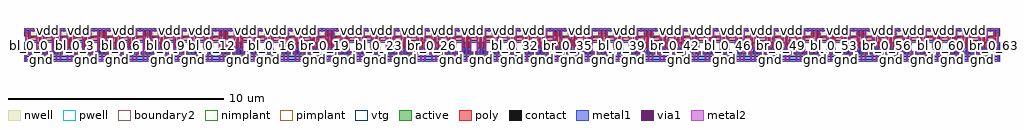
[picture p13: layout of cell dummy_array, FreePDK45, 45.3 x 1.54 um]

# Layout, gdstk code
import gdstk
lib = gdstk.Library(unit=1e-6, precision=5e-10)
def R(c, l, rs):  # rectangles x0, y0, x1, y1
    for r in rs: c.add(gdstk.rectangle(r[:2], r[2:], *l))
def A(c, l, x, y, w, h, nx, ny, dx, dy):  # array of equal rectangles
    R(c, l, [(x+i*dx, y+j*dy, x+i*dx+w, y+j*dy+h) for i in range(nx) for j in range(ny)])
active = (1, 0)
pwell = (2, 0)
nwell = (3, 0)
nimplant = (4, 0)
pimplant = (5, 0)
vtg = (6, 0)
poly = (9, 0)
contact = (10, 0)
metal1 = (11, 0)
via1 = (12, 0)
metal2 = (13, 0)
boundary2 = (239, 0)

dummy_cell_1rw = lib.new_cell('dummy_cell_1rw')
R(dummy_cell_1rw, active, [(0.3025,-0.045,0.3925,0.045), (0.3025,-0.045,0.3925,0.045), (0.045,0.2275,0.305,0.3625), (0.045,0.2275,0.12,0.3625), (0.045,0.2275,0.12,0.3625), (0.23,0.2275,0.305,0.3625), (0.23,0.2275,0.305,0.3625), (0.4,0.2275,0.66,0.3625), (0.4,0.2275,0.475,0.3625), (0.4,0.2275,0.475,0.3625), (0.585,0.2275,0.66,0.3625), (0.585,0.2275,0.66,0.3625), (0.045,0.2875,0.12,0.3625), (0.23,0.2875,0.305,0.3625), (0.4,0.2875,0.475,0.3625), (0.585,0.2875,0.66,0.3625), (-0.0375,0.5475,0.225,0.7525), (-0.0375,0.5475,0.04,0.7525), (-0.0375,0.5475,0.04,0.7525), (0.15,0.5475,0.225,0.7525), (0.15,0.5475,0.225,0.7525), (0.48,0.5475,0.7425,0.7525), (0.48,0.5475,0.555,0.7525), (0.48,0.5475,0.555,0.7525), (0.665,0.5475,0.7425,0.7525), (0.665,0.5475,0.7425,0.7525), (-0.0375,0.6775,0.0375,0.7525), (0.15,0.6775,0.225,0.7525), (0.48,0.6775,0.555,0.7525), (0.6675,0.6775,0.7425,0.7525), (-0.0375,1.1425,0.225,1.2325), (-0.0375,1.1425,0.04,1.2325), (-0.0375,1.1425,0.04,1.2325), (-0.0375,1.1425,0.04,1.2175), (0.15,1.1425,0.225,1.2175), (0.15,1.1425,0.225,1.2325), (0.15,1.1425,0.225,1.2325), (0.48,1.1425,0.555,1.2175), (0.48,1.1425,0.7425,1.2325), (0.48,1.1425,0.555,1.2325), (0.48,1.1425,0.555,1.2325), (0.665,1.1425,0.7425,1.2325), (0.665,1.1425,0.7425,1.2325), (0.6675,1.1425,0.7425,1.2175), (0.3025,1.3,0.3925,1.39), (0.3025,1.3,0.3925,1.39)])
R(dummy_cell_1rw, pwell, [(-0.0925,-0.1,0.7975,0.8075), (0.2475,-0.1,0.4475,0.1), (0.2475,-0.1,0.4475,0.1), (-0.01,0.1725,0.36,0.4175), (0.345,0.1725,0.715,0.4175), (-0.0925,0.4925,0.28,0.8075), (0.425,0.4925,0.7975,0.8075)])
R(dummy_cell_1rw, nwell, [(-0.0925,1.0875,0.28,1.2875), (-0.0925,1.0875,0.7975,1.445), (0.425,1.0875,0.7975,1.2875), (0.2475,1.245,0.4475,1.445), (0.2475,1.245,0.4475,1.445)])
R(dummy_cell_1rw, nimplant, [(0.045,0.2275,0.305,0.3625), (0.4,0.2275,0.66,0.3625), (-0.035,0.5475,0.225,0.7525), (0.48,0.5475,0.74,0.7525), (0.3025,1.3,0.3925,1.39), (0.3025,1.3,0.3925,1.39)])
R(dummy_cell_1rw, pimplant, [(0.3025,-0.045,0.3925,0.045), (-0.035,1.1425,0.225,1.2325), (0.48,1.1425,0.74,1.2325)])
R(dummy_cell_1rw, vtg, [(-0.09,-0.1,0.795,0.8075), (-0.01,0.1725,0.36,0.4175), (0.345,0.1725,0.715,0.4175), (-0.09,0.4925,0.28,0.8075), (0.425,0.4925,0.795,0.8075), (-0.09,1.0875,0.28,1.2875), (-0.09,1.0875,0.795,1.445), (0.425,1.0875,0.795,1.2875)])
R(dummy_cell_1rw, poly, [(0.07,0.1025,0.635,0.1775), (0.2975,0.1025,0.3725,0.1775), (0.15,0.1725,0.2,0.2275), (0.15,0.1725,0.2,0.4175), (0.505,0.1725,0.555,0.2275), (0.505,0.1725,0.555,0.4175), (0.15,0.3625,0.2,0.4175), (0.505,0.3625,0.555,0.4175), (0.07,0.4925,0.12,0.5475), (0.07,0.4925,0.12,0.8075), (0.585,0.4925,0.635,0.5475), (0.585,0.4925,0.635,0.8075), (0.07,0.7525,0.12,0.8075), (0.585,0.7525,0.635,0.8075), (0.07,0.8075,0.12,1.0875), (0.07,0.8075,0.12,1.0875), (0.585,0.8075,0.635,1.0875), (0.585,0.8075,0.635,1.0875), (0.07,0.8425,0.5025,0.9175), (0.4275,0.8425,0.5025,0.9175), (0.4275,0.8425,0.5025,0.9175), (0.2025,0.9925,0.2775,1.0675), (0.2025,0.9925,0.2775,1.0675), (0.2025,0.9925,0.635,1.0675), (0.07,1.0875,0.12,1.1425), (0.07,1.0875,0.12,1.2875), (0.585,1.0875,0.635,1.1425), (0.585,1.0875,0.635,1.2875), (0.07,1.2325,0.12,1.2875), (0.585,1.2325,0.635,1.2875)])
R(dummy_cell_1rw, contact, [(0.3175,-0.0325,0.3825,0.0325), (0.3175,-0.0325,0.3825,0.0325), (0.3025,0.1075,0.3675,0.1725), (0.05,0.2925,0.115,0.3575), (0.235,0.2925,0.3,0.3575), (0.405,0.2925,0.47,0.3575), (0.59,0.2925,0.655,0.3575), (-0.0325,0.6825,0.0325,0.7475), (0.155,0.6825,0.22,0.7475), (0.485,0.6825,0.55,0.7475), (0.6725,0.6825,0.7375,0.7475), (0.4325,0.8475,0.4975,0.9125), (0.4325,0.8475,0.4975,0.9125), (0.2075,0.9975,0.2725,1.0625), (0.2075,0.9975,0.2725,1.0625), (-0.0325,1.1475,0.0325,1.2125), (0.155,1.1475,0.22,1.2125), (0.485,1.1475,0.55,1.2125), (0.6725,1.1475,0.7375,1.2125), (0.315,1.3125,0.38,1.3775)])
R(dummy_cell_1rw, metal1, [(-0.09,-0.0325,0.795,0.0325), (-0.0675,-0.0325,0.0675,0.0325), (-0.0675,-0.0325,0.0675,0.0325), (0.285,-0.0325,0.42,0.0325), (0.285,-0.0325,0.42,0.0325), (0.6375,-0.0325,0.7725,0.0325), (0.6375,-0.0325,0.7725,0.0325), (0.6375,-0.0325,0.7725,0.0325), (0.6375,-0.0325,0.7725,0.0325), (-0.09,0.1075,0.795,0.1725), (-0.09,0.1075,0.795,0.1725), (-0.09,0.1075,0.795,0.1725), (0.2675,0.1075,0.4025,0.1725), (-0.085,0.11,-0.0325,0.1725), (0.62,0.11,0.6725,0.1725), (0.05,0.2575,0.115,0.3925), (0.05,0.2575,0.12,0.5475), (0.2225,0.2575,0.2875,0.3925), (0.235,0.2575,0.3,0.3925), (0.405,0.2575,0.47,0.3925), (0.4175,0.2575,0.4825,0.3925), (0.59,0.2575,0.655,0.3925), (0.59,0.2575,0.66,0.5475), (0.05,0.4825,0.22,0.5475), (0.155,0.4825,0.22,1.2225), (0.485,0.4825,0.66,0.5475), (0.485,0.4825,0.55,1.1125), (-0.035,0.6475,0.035,0.7825), (-0.035,0.6475,0.035,0.7825), (-0.03,0.6475,0.035,0.7825), (0.155,0.6475,0.22,0.7825), (0.485,0.6475,0.55,0.7825), (0.67,0.6475,0.735,0.7825), (0.67,0.6475,0.74,0.7825), (0.67,0.6475,0.74,0.7825), (0.67,0.6475,0.74,0.7825), (0.67,0.6475,0.74,0.7825), (0.67,0.6475,0.74,0.7825), (0.67,0.6475,0.74,0.7825), (-0.0325,0.75,0.0325,0.885), (-0.0325,0.75,0.0325,0.885), (-0.0325,0.75,0.0325,0.885), (-0.0325,0.75,0.0325,0.885), (-0.0325,0.75,0.0325,0.885), (-0.0325,0.75,0.0325,0.885), (0.6725,0.75,0.7375,0.885), (0.6725,0.75,0.7375,0.885), (0.6725,0.75,0.7375,0.885), (0.6725,0.75,0.7375,0.885), (0.6725,0.75,0.7375,0.885), (0.6725,0.75,0.7375,0.885), (0.6725,0.75,0.7375,0.885), (0.6725,0.75,0.7375,0.885), (0.6725,0.75,0.7375,0.885), (0.6725,0.75,0.7375,0.885), (0.6725,0.75,0.7375,0.885), (0.6725,0.75,0.7375,0.885), (0.6725,0.75,0.7375,0.885), (0.6725,0.75,0.7375,0.885), (0.6725,0.75,0.7375,0.885), (0.6725,0.75,0.7375,0.885), (0.6725,0.75,0.7375,0.885), (0.6725,0.75,0.7375,0.885), (0.6725,0.75,0.7375,0.885), (0.6725,0.75,0.7375,0.885), (0.6725,0.75,0.7375,0.885), (0.6725,0.75,0.7375,0.885), (0.6725,0.75,0.7375,0.885), (0.6725,0.75,0.7375,0.885), (0.3975,0.8475,0.5325,0.9125), (0.3975,0.8475,0.5325,0.9125), (0.1725,0.9975,0.3075,1.0625), (0.1725,0.9975,0.3075,1.0625), (-0.035,1.1125,0.035,1.3125), (-0.03,1.1125,0.035,1.2475), (0.155,1.1125,0.22,1.2475), (0.485,1.1125,0.55,1.2475), (0.67,1.1125,0.735,1.2475), (0.67,1.1125,0.74,1.3125), (0.67,1.1125,0.74,1.3125), (-0.09,1.3125,0.795,1.3775)])
R(dummy_cell_1rw, via1, [(-0.0325,-0.0325,0.0325,0.0325), (-0.0325,-0.0325,0.0325,0.0325), (0.6725,-0.0325,0.7375,0.0325), (0.6725,-0.0325,0.7375,0.0325), (0.6725,-0.0325,0.7375,0.0325), (0.6725,-0.0325,0.7375,0.0325), (-0.0325,0.785,0.0325,0.85), (-0.0325,0.785,0.0325,0.85), (-0.0325,0.785,0.0325,0.85), (-0.0325,0.785,0.0325,0.85), (-0.0325,0.785,0.0325,0.85), (-0.0325,0.785,0.0325,0.85), (0.6725,0.785,0.7375,0.85), (0.6725,0.785,0.7375,0.85), (0.6725,0.785,0.7375,0.85), (0.6725,0.785,0.7375,0.85), (0.6725,0.785,0.7375,0.85), (0.6725,0.785,0.7375,0.85), (0.6725,0.785,0.7375,0.85), (0.6725,0.785,0.7375,0.85), (0.6725,0.785,0.7375,0.85), (0.6725,0.785,0.7375,0.85), (0.6725,0.785,0.7375,0.85), (0.6725,0.785,0.7375,0.85), (0.6725,0.785,0.7375,0.85), (0.6725,0.785,0.7375,0.85), (0.6725,0.785,0.7375,0.85), (0.6725,0.785,0.7375,0.85), (0.6725,0.785,0.7375,0.85), (0.6725,0.785,0.7375,0.85), (0.6725,0.785,0.7375,0.85), (0.6725,0.785,0.7375,0.85), (0.6725,0.785,0.7375,0.85), (0.6725,0.785,0.7375,0.85), (0.6725,0.785,0.7375,0.85), (0.6725,0.785,0.7375,0.85), (0.315,1.3125,0.38,1.3775)])
R(dummy_cell_1rw, metal2, [(-0.035,-0.1,0.035,1.445), (0.15,-0.1,0.22,1.445), (0.15,-0.1,0.22,1.445), (0.15,-0.1,0.22,1.445), (0.485,-0.1,0.555,1.445), (0.485,-0.1,0.555,1.445), (0.485,-0.1,0.555,1.445), (0.67,-0.1,0.74,1.445), (-0.0675,-0.035,0.0675,0.035), (-0.0675,-0.035,0.0675,0.035), (-0.0675,-0.035,0.0675,0.035), (-0.0675,-0.035,0.0675,0.035), (0.6375,-0.035,0.7725,0.035), (0.6375,-0.035,0.7725,0.035), (0.6375,-0.035,0.7725,0.035), (0.6375,-0.035,0.7725,0.035), (0.4925,-0.0325,0.55,0.0275), (0.67,-0.0325,0.74,1.3775), (-0.03,-0.03,0.03,0.0275), (0.1575,-0.025,0.2125,0.0275), (0.675,-0.025,0.735,0.0325), (0.22,0.2575,0.29,0.3925), (0.415,0.2575,0.485,0.3925), (-0.035,0.75,0.035,0.885), (-0.035,0.75,0.035,0.885), (-0.035,0.75,0.035,0.885), (-0.035,0.75,0.035,0.885), (-0.035,0.75,0.035,0.885), (-0.035,0.75,0.035,0.885), (0.67,0.75,0.74,0.885), (0.67,0.75,0.74,0.885), (0.67,0.75,0.74,0.885), (0.67,0.75,0.74,0.885), (0.67,0.75,0.74,0.885), (0.67,0.75,0.74,0.885), (0.67,0.75,0.74,0.885), (0.67,0.75,0.74,0.885), (0.67,0.75,0.74,0.885), (0.67,0.75,0.74,0.885), (0.67,0.75,0.74,0.885), (0.67,0.75,0.74,0.885), (0.67,0.75,0.74,0.885), (0.67,0.75,0.74,0.885), (0.67,0.75,0.74,0.885), (0.67,0.75,0.74,0.885), (0.67,0.75,0.74,0.885), (0.67,0.75,0.74,0.885), (0.67,0.75,0.74,0.885), (0.67,0.75,0.74,0.885), (0.67,0.75,0.74,0.885), (0.67,0.75,0.74,0.885), (0.67,0.75,0.74,0.885), (0.67,0.75,0.74,0.885), (0.3125,1.2775,0.3825,1.4125), (0.3125,1.2775,0.3825,1.4125), (0.3125,1.2775,0.3825,1.4125)])
R(dummy_cell_1rw, boundary2, [(0,0,0.705,1.345)])
dummy_cell_1rw.add(gdstk.Label('vdd', (0.368,1.355), layer=13, texttype=0))
dummy_cell_1rw.add(gdstk.Label('gnd', (-0.0475,0.015), layer=13, texttype=0))
dummy_cell_1rw.add(gdstk.Label('br', (0.52,0.003), layer=13, texttype=0))
dummy_cell_1rw.add(gdstk.Label('bl', (0.19,0.003), layer=13, texttype=0))
dummy_cell_1rw.add(gdstk.Label('bl', (0.185,0.6725), layer=13, texttype=0))
dummy_cell_1rw.add(gdstk.Label('br', (0.52,0.6725), layer=13, texttype=0))
dummy_cell_1rw.add(gdstk.Label('vdd', (0.3475,1.345), layer=13, texttype=0))
dummy_cell_1rw.add(gdstk.Label('gnd', (0,0), layer=13, texttype=0))
dummy_cell_1rw.add(gdstk.Label('wl', (-0.05,0.147), layer=11, texttype=0))
dummy_cell_1rw.add(gdstk.Label('wl', (0.3525,0.14), layer=11, texttype=0))

dummy_array = lib.new_cell('dummy_array')
R(dummy_array, metal1, [(0,0.1075,45.12,0.1725)])
A(dummy_array, metal2, -0.0675, -0.035, 0.135, 0.07, 64, 1, 0.705, 0)
A(dummy_array, metal2, 0.3125, 1.2775, 0.07, 0.135, 64, 1, 0.705, 0)
R(dummy_array, metal2, [(0.15,0,0.22,1.345), (0.485,0,0.555,1.345), (0.855,0,0.925,1.345), (1.19,0,1.26,1.345), (1.56,0,1.63,1.345), (1.895,0,1.965,1.345), (2.265,0,2.335,1.345), (2.6,0,2.67,1.345), (2.97,0,3.04,1.345), (3.305,0,3.375,1.345), (3.675,0,3.745,1.345), (4.01,0,4.08,1.345), (4.38,0,4.45,1.345), (4.715,0,4.785,1.345), (5.085,0,5.155,1.345), (5.42,0,5.49,1.345), (5.79,0,5.86,1.345), (6.125,0,6.195,1.345), (6.495,0,6.565,1.345), (6.83,0,6.9,1.345), (7.2,0,7.27,1.345), (7.535,0,7.605,1.345), (7.905,0,7.975,1.345), (8.24,0,8.31,1.345), (8.61,0,8.68,1.345), (8.945,0,9.015,1.345), (9.315,0,9.385,1.345), (9.65,0,9.72,1.345), (10.02,0,10.09,1.345), (10.355,0,10.425,1.345), (10.725,0,10.795,1.345), (11.06,0,11.13,1.345), (11.43,0,11.5,1.345), (11.765,0,11.835,1.345), (12.135,0,12.205,1.345), (12.47,0,12.54,1.345), (12.84,0,12.91,1.345), (13.175,0,13.245,1.345), (13.545,0,13.615,1.345), (13.88,0,13.95,1.345), (14.25,0,14.32,1.345), (14.585,0,14.655,1.345), (14.955,0,15.025,1.345), (15.29,0,15.36,1.345), (15.66,0,15.73,1.345), (15.995,0,16.065,1.345), (16.365,0,16.435,1.345), (16.7,0,16.77,1.345), (17.07,0,17.14,1.345), (17.405,0,17.475,1.345), (17.775,0,17.845,1.345), (18.11,0,18.18,1.345), (18.48,0,18.55,1.345), (18.815,0,18.885,1.345), (19.185,0,19.255,1.345), (19.52,0,19.59,1.345), (19.89,0,19.96,1.345), (20.225,0,20.295,1.345), (20.595,0,20.665,1.345), (20.93,0,21,1.345), (21.3,0,21.37,1.345), (21.635,0,21.705,1.345), (22.005,0,22.075,1.345), (22.34,0,22.41,1.345), (22.71,0,22.78,1.345), (23.045,0,23.115,1.345), (23.415,0,23.485,1.345), (23.75,0,23.82,1.345), (24.12,0,24.19,1.345), (24.455,0,24.525,1.345), (24.825,0,24.895,1.345), (25.16,0,25.23,1.345), (25.53,0,25.6,1.345), (25.865,0,25.935,1.345), (26.235,0,26.305,1.345), (26.57,0,26.64,1.345), (26.94,0,27.01,1.345), (27.275,0,27.345,1.345), (27.645,0,27.715,1.345), (27.98,0,28.05,1.345), (28.35,0,28.42,1.345), (28.685,0,28.755,1.345), (29.055,0,29.125,1.345), (29.39,0,29.46,1.345), (29.76,0,29.83,1.345), (30.095,0,30.165,1.345), (30.465,0,30.535,1.345), (30.8,0,30.87,1.345), (31.17,0,31.24,1.345), (31.505,0,31.575,1.345), (31.875,0,31.945,1.345), (32.21,0,32.28,1.345), (32.58,0,32.65,1.345), (32.915,0,32.985,1.345), (33.285,0,33.355,1.345), (33.62,0,33.69,1.345), (33.99,0,34.06,1.345), (34.325,0,34.395,1.345), (34.695,0,34.765,1.345), (35.03,0,35.1,1.345), (35.4,0,35.47,1.345), (35.735,0,35.805,1.345), (36.105,0,36.175,1.345), (36.44,0,36.51,1.345), (36.81,0,36.88,1.345), (37.145,0,37.215,1.345), (37.515,0,37.585,1.345), (37.85,0,37.92,1.345), (38.22,0,38.29,1.345), (38.555,0,38.625,1.345), (38.925,0,38.995,1.345), (39.26,0,39.33,1.345), (39.63,0,39.7,1.345), (39.965,0,40.035,1.345), (40.335,0,40.405,1.345), (40.67,0,40.74,1.345), (41.04,0,41.11,1.345), (41.375,0,41.445,1.345), (41.745,0,41.815,1.345), (42.08,0,42.15,1.345), (42.45,0,42.52,1.345), (42.785,0,42.855,1.345), (43.155,0,43.225,1.345), (43.49,0,43.56,1.345), (43.86,0,43.93,1.345), (44.195,0,44.265,1.345), (44.565,0,44.635,1.345), (44.9,0,44.97,1.345)])
R(dummy_array, boundary2, [(0,0,45.12,1.345)])
dummy_array.add(gdstk.Reference(dummy_cell_1rw, (0,0)))
dummy_array.add(gdstk.Reference(dummy_cell_1rw, (0.705,0)))
dummy_array.add(gdstk.Reference(dummy_cell_1rw, (1.41,0)))
dummy_array.add(gdstk.Reference(dummy_cell_1rw, (2.115,0)))
dummy_array.add(gdstk.Reference(dummy_cell_1rw, (2.82,0)))
dummy_array.add(gdstk.Reference(dummy_cell_1rw, (3.525,0)))
dummy_array.add(gdstk.Reference(dummy_cell_1rw, (4.23,0)))
dummy_array.add(gdstk.Reference(dummy_cell_1rw, (4.935,0)))
dummy_array.add(gdstk.Reference(dummy_cell_1rw, (5.64,0)))
dummy_array.add(gdstk.Reference(dummy_cell_1rw, (6.345,0)))
dummy_array.add(gdstk.Reference(dummy_cell_1rw, (7.05,0)))
dummy_array.add(gdstk.Reference(dummy_cell_1rw, (7.755,0)))
dummy_array.add(gdstk.Reference(dummy_cell_1rw, (8.46,0)))
dummy_array.add(gdstk.Reference(dummy_cell_1rw, (9.165,0)))
dummy_array.add(gdstk.Reference(dummy_cell_1rw, (9.87,0)))
dummy_array.add(gdstk.Reference(dummy_cell_1rw, (10.575,0)))
dummy_array.add(gdstk.Reference(dummy_cell_1rw, (11.28,0)))
dummy_array.add(gdstk.Reference(dummy_cell_1rw, (11.985,0)))
dummy_array.add(gdstk.Reference(dummy_cell_1rw, (12.69,0)))
dummy_array.add(gdstk.Reference(dummy_cell_1rw, (13.395,0)))
dummy_array.add(gdstk.Reference(dummy_cell_1rw, (14.1,0)))
dummy_array.add(gdstk.Reference(dummy_cell_1rw, (14.805,0)))
dummy_array.add(gdstk.Reference(dummy_cell_1rw, (15.51,0)))
dummy_array.add(gdstk.Reference(dummy_cell_1rw, (16.215,0)))
dummy_array.add(gdstk.Reference(dummy_cell_1rw, (16.92,0)))
dummy_array.add(gdstk.Reference(dummy_cell_1rw, (17.625,0)))
dummy_array.add(gdstk.Reference(dummy_cell_1rw, (18.33,0)))
dummy_array.add(gdstk.Reference(dummy_cell_1rw, (19.035,0)))
dummy_array.add(gdstk.Reference(dummy_cell_1rw, (19.74,0)))
dummy_array.add(gdstk.Reference(dummy_cell_1rw, (20.445,0)))
dummy_array.add(gdstk.Reference(dummy_cell_1rw, (21.15,0)))
dummy_array.add(gdstk.Reference(dummy_cell_1rw, (21.855,0)))
dummy_array.add(gdstk.Reference(dummy_cell_1rw, (22.56,0)))
dummy_array.add(gdstk.Reference(dummy_cell_1rw, (23.265,0)))
dummy_array.add(gdstk.Reference(dummy_cell_1rw, (23.97,0)))
dummy_array.add(gdstk.Reference(dummy_cell_1rw, (24.675,0)))
dummy_array.add(gdstk.Reference(dummy_cell_1rw, (25.38,0)))
dummy_array.add(gdstk.Reference(dummy_cell_1rw, (26.085,0)))
dummy_array.add(gdstk.Reference(dummy_cell_1rw, (26.79,0)))
dummy_array.add(gdstk.Reference(dummy_cell_1rw, (27.495,0)))
dummy_array.add(gdstk.Reference(dummy_cell_1rw, (28.2,0)))
dummy_array.add(gdstk.Reference(dummy_cell_1rw, (28.905,0)))
dummy_array.add(gdstk.Reference(dummy_cell_1rw, (29.61,0)))
dummy_array.add(gdstk.Reference(dummy_cell_1rw, (30.315,0)))
dummy_array.add(gdstk.Reference(dummy_cell_1rw, (31.02,0)))
dummy_array.add(gdstk.Reference(dummy_cell_1rw, (31.725,0)))
dummy_array.add(gdstk.Reference(dummy_cell_1rw, (32.43,0)))
dummy_array.add(gdstk.Reference(dummy_cell_1rw, (33.135,0)))
dummy_array.add(gdstk.Reference(dummy_cell_1rw, (33.84,0)))
dummy_array.add(gdstk.Reference(dummy_cell_1rw, (34.545,0)))
dummy_array.add(gdstk.Reference(dummy_cell_1rw, (35.25,0)))
dummy_array.add(gdstk.Reference(dummy_cell_1rw, (35.955,0)))
dummy_array.add(gdstk.Reference(dummy_cell_1rw, (36.66,0)))
dummy_array.add(gdstk.Reference(dummy_cell_1rw, (37.365,0)))
dummy_array.add(gdstk.Reference(dummy_cell_1rw, (38.07,0)))
dummy_array.add(gdstk.Reference(dummy_cell_1rw, (38.775,0)))
dummy_array.add(gdstk.Reference(dummy_cell_1rw, (39.48,0)))
dummy_array.add(gdstk.Reference(dummy_cell_1rw, (40.185,0)))
dummy_array.add(gdstk.Reference(dummy_cell_1rw, (40.89,0)))
dummy_array.add(gdstk.Reference(dummy_cell_1rw, (41.595,0)))
dummy_array.add(gdstk.Reference(dummy_cell_1rw, (42.3,0)))
dummy_array.add(gdstk.Reference(dummy_cell_1rw, (43.005,0)))
dummy_array.add(gdstk.Reference(dummy_cell_1rw, (43.71,0)))
dummy_array.add(gdstk.Reference(dummy_cell_1rw, (44.415,0)))
dummy_array.add(gdstk.Label('bl_0_32', (22.745,0.6725), layer=13, texttype=0))
dummy_array.add(gdstk.Label('br_0_32', (23.08,0.6725), layer=13, texttype=0))
dummy_array.add(gdstk.Label('bl_0_33', (23.45,0.6725), layer=13, texttype=0))
dummy_array.add(gdstk.Label('br_0_33', (23.785,0.6725), layer=13, texttype=0))
dummy_array.add(gdstk.Label('bl_0_34', (24.155,0.6725), layer=13, texttype=0))
dummy_array.add(gdstk.Label('br_0_34', (24.49,0.6725), layer=13, texttype=0))
dummy_array.add(gdstk.Label('bl_0_35', (24.86,0.6725), layer=13, texttype=0))
dummy_array.add(gdstk.Label('br_0_35', (25.195,0.6725), layer=13, texttype=0))
dummy_array.add(gdstk.Label('bl_0_36', (25.565,0.6725), layer=13, texttype=0))
dummy_array.add(gdstk.Label('br_0_36', (25.9,0.6725), layer=13, texttype=0))
dummy_array.add(gdstk.Label('bl_0_37', (26.27,0.6725), layer=13, texttype=0))
dummy_array.add(gdstk.Label('br_0_37', (26.605,0.6725), layer=13, texttype=0))
dummy_array.add(gdstk.Label('bl_0_38', (26.975,0.6725), layer=13, texttype=0))
dummy_array.add(gdstk.Label('br_0_38', (27.31,0.6725), layer=13, texttype=0))
dummy_array.add(gdstk.Label('bl_0_39', (27.68,0.6725), layer=13, texttype=0))
dummy_array.add(gdstk.Label('br_0_39', (28.015,0.6725), layer=13, texttype=0))
dummy_array.add(gdstk.Label('bl_0_40', (28.385,0.6725), layer=13, texttype=0))
dummy_array.add(gdstk.Label('br_0_40', (28.72,0.6725), layer=13, texttype=0))
dummy_array.add(gdstk.Label('bl_0_41', (29.09,0.6725), layer=13, texttype=0))
dummy_array.add(gdstk.Label('br_0_41', (29.425,0.6725), layer=13, texttype=0))
dummy_array.add(gdstk.Label('bl_0_42', (29.795,0.6725), layer=13, texttype=0))
dummy_array.add(gdstk.Label('br_0_42', (30.13,0.6725), layer=13, texttype=0))
dummy_array.add(gdstk.Label('bl_0_43', (30.5,0.6725), layer=13, texttype=0))
dummy_array.add(gdstk.Label('br_0_43', (30.835,0.6725), layer=13, texttype=0))
dummy_array.add(gdstk.Label('bl_0_44', (31.205,0.6725), layer=13, texttype=0))
dummy_array.add(gdstk.Label('br_0_44', (31.54,0.6725), layer=13, texttype=0))
dummy_array.add(gdstk.Label('bl_0_45', (31.91,0.6725), layer=13, texttype=0))
dummy_array.add(gdstk.Label('br_0_45', (32.245,0.6725), layer=13, texttype=0))
dummy_array.add(gdstk.Label('bl_0_46', (32.615,0.6725), layer=13, texttype=0))
dummy_array.add(gdstk.Label('br_0_46', (32.95,0.6725), layer=13, texttype=0))
dummy_array.add(gdstk.Label('bl_0_47', (33.32,0.6725), layer=13, texttype=0))
dummy_array.add(gdstk.Label('br_0_47', (33.655,0.6725), layer=13, texttype=0))
dummy_array.add(gdstk.Label('bl_0_48', (34.025,0.6725), layer=13, texttype=0))
dummy_array.add(gdstk.Label('br_0_48', (34.36,0.6725), layer=13, texttype=0))
dummy_array.add(gdstk.Label('bl_0_49', (34.73,0.6725), layer=13, texttype=0))
dummy_array.add(gdstk.Label('br_0_49', (35.065,0.6725), layer=13, texttype=0))
dummy_array.add(gdstk.Label('bl_0_50', (35.435,0.6725), layer=13, texttype=0))
dummy_array.add(gdstk.Label('br_0_50', (35.77,0.6725), layer=13, texttype=0))
dummy_array.add(gdstk.Label('bl_0_51', (36.14,0.6725), layer=13, texttype=0))
dummy_array.add(gdstk.Label('br_0_51', (36.475,0.6725), layer=13, texttype=0))
dummy_array.add(gdstk.Label('bl_0_52', (36.845,0.6725), layer=13, texttype=0))
dummy_array.add(gdstk.Label('br_0_52', (37.18,0.6725), layer=13, texttype=0))
dummy_array.add(gdstk.Label('bl_0_53', (37.55,0.6725), layer=13, texttype=0))
dummy_array.add(gdstk.Label('br_0_53', (37.885,0.6725), layer=13, texttype=0))
dummy_array.add(gdstk.Label('bl_0_54', (38.255,0.6725), layer=13, texttype=0))
dummy_array.add(gdstk.Label('br_0_54', (38.59,0.6725), layer=13, texttype=0))
dummy_array.add(gdstk.Label('bl_0_55', (38.96,0.6725), layer=13, texttype=0))
dummy_array.add(gdstk.Label('br_0_55', (39.295,0.6725), layer=13, texttype=0))
dummy_array.add(gdstk.Label('bl_0_56', (39.665,0.6725), layer=13, texttype=0))
dummy_array.add(gdstk.Label('br_0_56', (40,0.6725), layer=13, texttype=0))
dummy_array.add(gdstk.Label('bl_0_57', (40.37,0.6725), layer=13, texttype=0))
dummy_array.add(gdstk.Label('br_0_57', (40.705,0.6725), layer=13, texttype=0))
dummy_array.add(gdstk.Label('bl_0_58', (41.075,0.6725), layer=13, texttype=0))
dummy_array.add(gdstk.Label('br_0_58', (41.41,0.6725), layer=13, texttype=0))
dummy_array.add(gdstk.Label('bl_0_59', (41.78,0.6725), layer=13, texttype=0))
dummy_array.add(gdstk.Label('br_0_59', (42.115,0.6725), layer=13, texttype=0))
dummy_array.add(gdstk.Label('bl_0_60', (42.485,0.6725), layer=13, texttype=0))
dummy_array.add(gdstk.Label('br_0_60', (42.82,0.6725), layer=13, texttype=0))
dummy_array.add(gdstk.Label('bl_0_61', (43.19,0.6725), layer=13, texttype=0))
dummy_array.add(gdstk.Label('br_0_61', (43.525,0.6725), layer=13, texttype=0))
dummy_array.add(gdstk.Label('bl_0_62', (43.895,0.6725), layer=13, texttype=0))
dummy_array.add(gdstk.Label('br_0_62', (44.23,0.6725), layer=13, texttype=0))
dummy_array.add(gdstk.Label('bl_0_63', (44.6,0.6725), layer=13, texttype=0))
dummy_array.add(gdstk.Label('br_0_63', (44.935,0.6725), layer=13, texttype=0))
dummy_array.add(gdstk.Label('vdd', (34.1875,1.345), layer=13, texttype=0))
dummy_array.add(gdstk.Label('vdd', (27.8425,1.345), layer=13, texttype=0))
dummy_array.add(gdstk.Label('vdd', (37.7125,1.345), layer=13, texttype=0))
dummy_array.add(gdstk.Label('vdd', (39.8275,1.345), layer=13, texttype=0))
dummy_array.add(gdstk.Label('vdd', (44.0575,1.345), layer=13, texttype=0))
dummy_array.add(gdstk.Label('vdd', (39.1225,1.345), layer=13, texttype=0))
dummy_array.add(gdstk.Label('vdd', (35.5975,1.345), layer=13, texttype=0))
dummy_array.add(gdstk.Label('vdd', (43.3525,1.345), layer=13, texttype=0))
dummy_array.add(gdstk.Label('vdd', (25.7275,1.345), layer=13, texttype=0))
dummy_array.add(gdstk.Label('vdd', (41.2375,1.345), layer=13, texttype=0))
dummy_array.add(gdstk.Label('vdd', (40.5325,1.345), layer=13, texttype=0))
dummy_array.add(gdstk.Label('vdd', (34.8925,1.345), layer=13, texttype=0))
dummy_array.add(gdstk.Label('vdd', (27.1375,1.345), layer=13, texttype=0))
dummy_array.add(gdstk.Label('vdd', (23.6125,1.345), layer=13, texttype=0))
dummy_array.add(gdstk.Label('vdd', (28.5475,1.345), layer=13, texttype=0))
dummy_array.add(gdstk.Label('vdd', (36.3025,1.345), layer=13, texttype=0))
dummy_array.add(gdstk.Label('vdd', (42.6475,1.345), layer=13, texttype=0))
dummy_array.add(gdstk.Label('vdd', (31.3675,1.345), layer=13, texttype=0))
dummy_array.add(gdstk.Label('vdd', (26.4325,1.345), layer=13, texttype=0))
dummy_array.add(gdstk.Label('vdd', (32.7775,1.345), layer=13, texttype=0))
dummy_array.add(gdstk.Label('vdd', (25.0225,1.345), layer=13, texttype=0))
dummy_array.add(gdstk.Label('vdd', (41.9425,1.345), layer=13, texttype=0))
dummy_array.add(gdstk.Label('vdd', (37.0075,1.345), layer=13, texttype=0))
dummy_array.add(gdstk.Label('vdd', (24.3175,1.345), layer=13, texttype=0))
dummy_array.add(gdstk.Label('vdd', (38.4175,1.345), layer=13, texttype=0))
dummy_array.add(gdstk.Label('vdd', (22.9075,1.345), layer=13, texttype=0))
dummy_array.add(gdstk.Label('vdd', (29.9575,1.345), layer=13, texttype=0))
dummy_array.add(gdstk.Label('vdd', (33.4825,1.345), layer=13, texttype=0))
dummy_array.add(gdstk.Label('vdd', (30.6625,1.345), layer=13, texttype=0))
dummy_array.add(gdstk.Label('vdd', (32.0725,1.345), layer=13, texttype=0))
dummy_array.add(gdstk.Label('vdd', (44.7625,1.345), layer=13, texttype=0))
dummy_array.add(gdstk.Label('vdd', (29.2525,1.345), layer=13, texttype=0))
dummy_array.add(gdstk.Label('bl_0_16', (11.465,0.6725), layer=13, texttype=0))
dummy_array.add(gdstk.Label('br_0_16', (11.8,0.6725), layer=13, texttype=0))
dummy_array.add(gdstk.Label('bl_0_17', (12.17,0.6725), layer=13, texttype=0))
dummy_array.add(gdstk.Label('br_0_17', (12.505,0.6725), layer=13, texttype=0))
dummy_array.add(gdstk.Label('bl_0_18', (12.875,0.6725), layer=13, texttype=0))
dummy_array.add(gdstk.Label('br_0_18', (13.21,0.6725), layer=13, texttype=0))
dummy_array.add(gdstk.Label('bl_0_19', (13.58,0.6725), layer=13, texttype=0))
dummy_array.add(gdstk.Label('br_0_19', (13.915,0.6725), layer=13, texttype=0))
dummy_array.add(gdstk.Label('bl_0_20', (14.285,0.6725), layer=13, texttype=0))
dummy_array.add(gdstk.Label('br_0_20', (14.62,0.6725), layer=13, texttype=0))
dummy_array.add(gdstk.Label('bl_0_21', (14.99,0.6725), layer=13, texttype=0))
dummy_array.add(gdstk.Label('br_0_21', (15.325,0.6725), layer=13, texttype=0))
dummy_array.add(gdstk.Label('bl_0_22', (15.695,0.6725), layer=13, texttype=0))
dummy_array.add(gdstk.Label('br_0_22', (16.03,0.6725), layer=13, texttype=0))
dummy_array.add(gdstk.Label('bl_0_23', (16.4,0.6725), layer=13, texttype=0))
dummy_array.add(gdstk.Label('br_0_23', (16.735,0.6725), layer=13, texttype=0))
dummy_array.add(gdstk.Label('bl_0_24', (17.105,0.6725), layer=13, texttype=0))
dummy_array.add(gdstk.Label('br_0_24', (17.44,0.6725), layer=13, texttype=0))
dummy_array.add(gdstk.Label('bl_0_25', (17.81,0.6725), layer=13, texttype=0))
dummy_array.add(gdstk.Label('br_0_25', (18.145,0.6725), layer=13, texttype=0))
dummy_array.add(gdstk.Label('bl_0_26', (18.515,0.6725), layer=13, texttype=0))
dummy_array.add(gdstk.Label('br_0_26', (18.85,0.6725), layer=13, texttype=0))
dummy_array.add(gdstk.Label('bl_0_27', (19.22,0.6725), layer=13, texttype=0))
dummy_array.add(gdstk.Label('br_0_27', (19.555,0.6725), layer=13, texttype=0))
dummy_array.add(gdstk.Label('bl_0_28', (19.925,0.6725), layer=13, texttype=0))
dummy_array.add(gdstk.Label('br_0_28', (20.26,0.6725), layer=13, texttype=0))
dummy_array.add(gdstk.Label('bl_0_29', (20.63,0.6725), layer=13, texttype=0))
dummy_array.add(gdstk.Label('br_0_29', (20.965,0.6725), layer=13, texttype=0))
dummy_array.add(gdstk.Label('bl_0_30', (21.335,0.6725), layer=13, texttype=0))
dummy_array.add(gdstk.Label('br_0_30', (21.67,0.6725), layer=13, texttype=0))
dummy_array.add(gdstk.Label('bl_0_31', (22.04,0.6725), layer=13, texttype=0))
dummy_array.add(gdstk.Label('br_0_31', (22.375,0.6725), layer=13, texttype=0))
dummy_array.add(gdstk.Label('bl_0_0', (0.185,0.6725), layer=13, texttype=0))
dummy_array.add(gdstk.Label('br_0_0', (0.52,0.6725), layer=13, texttype=0))
dummy_array.add(gdstk.Label('bl_0_1', (0.89,0.6725), layer=13, texttype=0))
dummy_array.add(gdstk.Label('vdd', (19.3825,1.345), layer=13, texttype=0))
dummy_array.add(gdstk.Label('br_0_1', (1.225,0.6725), layer=13, texttype=0))
dummy_array.add(gdstk.Label('bl_0_2', (1.595,0.6725), layer=13, texttype=0))
dummy_array.add(gdstk.Label('vdd', (20.0875,1.345), layer=13, texttype=0))
dummy_array.add(gdstk.Label('vdd', (15.1525,1.345), layer=13, texttype=0))
dummy_array.add(gdstk.Label('br_0_2', (1.93,0.6725), layer=13, texttype=0))
dummy_array.add(gdstk.Label('vdd', (17.9725,1.345), layer=13, texttype=0))
dummy_array.add(gdstk.Label('vdd', (20.7925,1.345), layer=13, texttype=0))
dummy_array.add(gdstk.Label('bl_0_3', (2.3,0.6725), layer=13, texttype=0))
dummy_array.add(gdstk.Label('br_0_3', (2.635,0.6725), layer=13, texttype=0))
dummy_array.add(gdstk.Label('vdd', (2.4625,1.345), layer=13, texttype=0))
dummy_array.add(gdstk.Label('bl_0_4', (3.005,0.6725), layer=13, texttype=0))
dummy_array.add(gdstk.Label('vdd', (10.2175,1.345), layer=13, texttype=0))
dummy_array.add(gdstk.Label('br_0_4', (3.34,0.6725), layer=13, texttype=0))
dummy_array.add(gdstk.Label('vdd', (1.0525,1.345), layer=13, texttype=0))
dummy_array.add(gdstk.Label('vdd', (17.2675,1.345), layer=13, texttype=0))
dummy_array.add(gdstk.Label('vdd', (13.0375,1.345), layer=13, texttype=0))
dummy_array.add(gdstk.Label('vdd', (8.1025,1.345), layer=13, texttype=0))
dummy_array.add(gdstk.Label('bl_0_5', (3.71,0.6725), layer=13, texttype=0))
dummy_array.add(gdstk.Label('vdd', (8.8075,1.345), layer=13, texttype=0))
dummy_array.add(gdstk.Label('br_0_5', (4.045,0.6725), layer=13, texttype=0))
dummy_array.add(gdstk.Label('vdd', (13.7425,1.345), layer=13, texttype=0))
dummy_array.add(gdstk.Label('bl_0_6', (4.415,0.6725), layer=13, texttype=0))
dummy_array.add(gdstk.Label('br_0_6', (4.75,0.6725), layer=13, texttype=0))
dummy_array.add(gdstk.Label('bl_0_7', (5.12,0.6725), layer=13, texttype=0))
dummy_array.add(gdstk.Label('vdd', (6.6925,1.345), layer=13, texttype=0))
dummy_array.add(gdstk.Label('br_0_7', (5.455,0.6725), layer=13, texttype=0))
dummy_array.add(gdstk.Label('bl_0_8', (5.825,0.6725), layer=13, texttype=0))
dummy_array.add(gdstk.Label('vdd', (1.7575,1.345), layer=13, texttype=0))
dummy_array.add(gdstk.Label('vdd', (9.5125,1.345), layer=13, texttype=0))
dummy_array.add(gdstk.Label('vdd', (10.9225,1.345), layer=13, texttype=0))
dummy_array.add(gdstk.Label('br_0_8', (6.16,0.6725), layer=13, texttype=0))
dummy_array.add(gdstk.Label('vdd', (11.6275,1.345), layer=13, texttype=0))
dummy_array.add(gdstk.Label('bl_0_9', (6.53,0.6725), layer=13, texttype=0))
dummy_array.add(gdstk.Label('br_0_9', (6.865,0.6725), layer=13, texttype=0))
dummy_array.add(gdstk.Label('vdd', (5.9875,1.345), layer=13, texttype=0))
dummy_array.add(gdstk.Label('bl_0_10', (7.235,0.6725), layer=13, texttype=0))
dummy_array.add(gdstk.Label('vdd', (4.5775,1.345), layer=13, texttype=0))
dummy_array.add(gdstk.Label('vdd', (7.3975,1.345), layer=13, texttype=0))
dummy_array.add(gdstk.Label('br_0_10', (7.57,0.6725), layer=13, texttype=0))
dummy_array.add(gdstk.Label('vdd', (15.8575,1.345), layer=13, texttype=0))
dummy_array.add(gdstk.Label('vdd', (12.3325,1.345), layer=13, texttype=0))
dummy_array.add(gdstk.Label('vdd', (14.4475,1.345), layer=13, texttype=0))
dummy_array.add(gdstk.Label('bl_0_11', (7.94,0.6725), layer=13, texttype=0))
dummy_array.add(gdstk.Label('br_0_11', (8.275,0.6725), layer=13, texttype=0))
dummy_array.add(gdstk.Label('bl_0_12', (8.645,0.6725), layer=13, texttype=0))
dummy_array.add(gdstk.Label('br_0_12', (8.98,0.6725), layer=13, texttype=0))
dummy_array.add(gdstk.Label('bl_0_13', (9.35,0.6725), layer=13, texttype=0))
dummy_array.add(gdstk.Label('vdd', (5.2825,1.345), layer=13, texttype=0))
dummy_array.add(gdstk.Label('br_0_13', (9.685,0.6725), layer=13, texttype=0))
dummy_array.add(gdstk.Label('vdd', (22.2025,1.345), layer=13, texttype=0))
dummy_array.add(gdstk.Label('vdd', (0.3475,1.345), layer=13, texttype=0))
dummy_array.add(gdstk.Label('vdd', (18.6775,1.345), layer=13, texttype=0))
dummy_array.add(gdstk.Label('bl_0_14', (10.055,0.6725), layer=13, texttype=0))
dummy_array.add(gdstk.Label('br_0_14', (10.39,0.6725), layer=13, texttype=0))
dummy_array.add(gdstk.Label('bl_0_15', (10.76,0.6725), layer=13, texttype=0))
dummy_array.add(gdstk.Label('vdd', (3.1675,1.345), layer=13, texttype=0))
dummy_array.add(gdstk.Label('br_0_15', (11.095,0.6725), layer=13, texttype=0))
dummy_array.add(gdstk.Label('vdd', (21.4975,1.345), layer=13, texttype=0))
dummy_array.add(gdstk.Label('vdd', (3.8725,1.345), layer=13, texttype=0))
dummy_array.add(gdstk.Label('vdd', (16.5625,1.345), layer=13, texttype=0))
dummy_array.add(gdstk.Label('gnd', (4.23,0), layer=13, texttype=0))
dummy_array.add(gdstk.Label('gnd', (0.705,0), layer=13, texttype=0))
dummy_array.add(gdstk.Label('gnd', (17.625,0), layer=13, texttype=0))
dummy_array.add(gdstk.Label('gnd', (9.87,0), layer=13, texttype=0))
dummy_array.add(gdstk.Label('gnd', (18.33,0), layer=13, texttype=0))
dummy_array.add(gdstk.Label('gnd', (11.28,0), layer=13, texttype=0))
dummy_array.add(gdstk.Label('gnd', (6.345,0), layer=13, texttype=0))
dummy_array.add(gdstk.Label('gnd', (13.395,0), layer=13, texttype=0))
dummy_array.add(gdstk.Label('gnd', (3.525,0), layer=13, texttype=0))
dummy_array.add(gdstk.Label('gnd', (12.69,0), layer=13, texttype=0))
dummy_array.add(gdstk.Label('gnd', (2.82,0), layer=13, texttype=0))
dummy_array.add(gdstk.Label('gnd', (7.755,0), layer=13, texttype=0))
dummy_array.add(gdstk.Label('gnd', (14.1,0), layer=13, texttype=0))
dummy_array.add(gdstk.Label('gnd', (21.15,0), layer=13, texttype=0))
dummy_array.add(gdstk.Label('gnd', (0,0), layer=13, texttype=0))
dummy_array.add(gdstk.Label('gnd', (16.92,0), layer=13, texttype=0))
dummy_array.add(gdstk.Label('gnd', (8.46,0), layer=13, texttype=0))
dummy_array.add(gdstk.Label('gnd', (19.74,0), layer=13, texttype=0))
dummy_array.add(gdstk.Label('gnd', (9.165,0), layer=13, texttype=0))
dummy_array.add(gdstk.Label('gnd', (16.215,0), layer=13, texttype=0))
dummy_array.add(gdstk.Label('gnd', (20.445,0), layer=13, texttype=0))
dummy_array.add(gdstk.Label('gnd', (11.985,0), layer=13, texttype=0))
dummy_array.add(gdstk.Label('gnd', (19.035,0), layer=13, texttype=0))
dummy_array.add(gdstk.Label('gnd', (4.935,0), layer=13, texttype=0))
dummy_array.add(gdstk.Label('gnd', (15.51,0), layer=13, texttype=0))
dummy_array.add(gdstk.Label('gnd', (5.64,0), layer=13, texttype=0))
dummy_array.add(gdstk.Label('gnd', (21.855,0), layer=13, texttype=0))
dummy_array.add(gdstk.Label('gnd', (2.115,0), layer=13, texttype=0))
dummy_array.add(gdstk.Label('gnd', (14.805,0), layer=13, texttype=0))
dummy_array.add(gdstk.Label('gnd', (7.05,0), layer=13, texttype=0))
dummy_array.add(gdstk.Label('gnd', (10.575,0), layer=13, texttype=0))
dummy_array.add(gdstk.Label('gnd', (1.41,0), layer=13, texttype=0))
dummy_array.add(gdstk.Label('gnd', (30.315,0), layer=13, texttype=0))
dummy_array.add(gdstk.Label('gnd', (41.595,0), layer=13, texttype=0))
dummy_array.add(gdstk.Label('gnd', (34.545,0), layer=13, texttype=0))
dummy_array.add(gdstk.Label('gnd', (44.415,0), layer=13, texttype=0))
dummy_array.add(gdstk.Label('gnd', (43.005,0), layer=13, texttype=0))
dummy_array.add(gdstk.Label('gnd', (35.25,0), layer=13, texttype=0))
dummy_array.add(gdstk.Label('gnd', (32.43,0), layer=13, texttype=0))
dummy_array.add(gdstk.Label('gnd', (42.3,0), layer=13, texttype=0))
dummy_array.add(gdstk.Label('gnd', (25.38,0), layer=13, texttype=0))
dummy_array.add(gdstk.Label('gnd', (40.89,0), layer=13, texttype=0))
dummy_array.add(gdstk.Label('gnd', (36.66,0), layer=13, texttype=0))
dummy_array.add(gdstk.Label('gnd', (29.61,0), layer=13, texttype=0))
dummy_array.add(gdstk.Label('gnd', (43.71,0), layer=13, texttype=0))
dummy_array.add(gdstk.Label('gnd', (31.02,0), layer=13, texttype=0))
dummy_array.add(gdstk.Label('gnd', (38.07,0), layer=13, texttype=0))
dummy_array.add(gdstk.Label('gnd', (26.085,0), layer=13, texttype=0))
dummy_array.add(gdstk.Label('gnd', (33.84,0), layer=13, texttype=0))
dummy_array.add(gdstk.Label('gnd', (28.2,0), layer=13, texttype=0))
dummy_array.add(gdstk.Label('gnd', (37.365,0), layer=13, texttype=0))
dummy_array.add(gdstk.Label('gnd', (26.79,0), layer=13, texttype=0))
dummy_array.add(gdstk.Label('gnd', (22.56,0), layer=13, texttype=0))
dummy_array.add(gdstk.Label('gnd', (38.775,0), layer=13, texttype=0))
dummy_array.add(gdstk.Label('gnd', (23.97,0), layer=13, texttype=0))
dummy_array.add(gdstk.Label('gnd', (27.495,0), layer=13, texttype=0))
dummy_array.add(gdstk.Label('gnd', (31.725,0), layer=13, texttype=0))
dummy_array.add(gdstk.Label('gnd', (33.135,0), layer=13, texttype=0))
dummy_array.add(gdstk.Label('gnd', (35.955,0), layer=13, texttype=0))
dummy_array.add(gdstk.Label('gnd', (23.265,0), layer=13, texttype=0))
dummy_array.add(gdstk.Label('gnd', (40.185,0), layer=13, texttype=0))
dummy_array.add(gdstk.Label('gnd', (24.675,0), layer=13, texttype=0))
dummy_array.add(gdstk.Label('gnd', (39.48,0), layer=13, texttype=0))
dummy_array.add(gdstk.Label('gnd', (28.905,0), layer=13, texttype=0))
dummy_array.add(gdstk.Label('wl_0_0', (22.56,0.14), layer=11, texttype=0))

lib.write_gds('dummy_array.gds')
